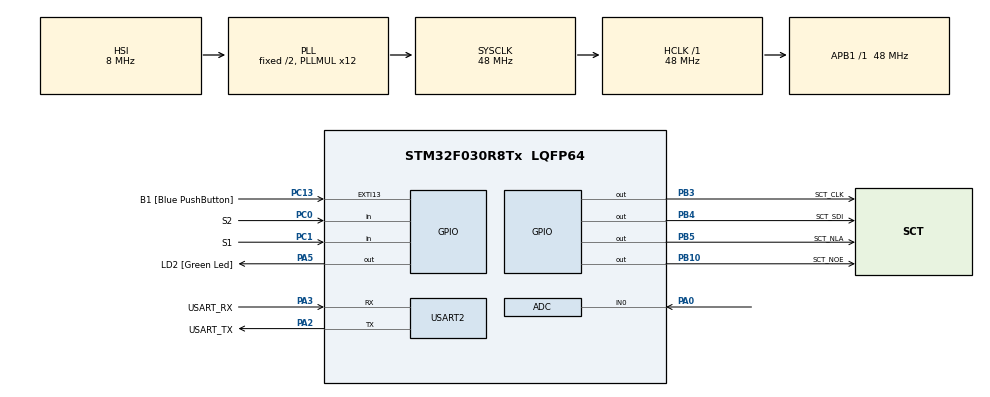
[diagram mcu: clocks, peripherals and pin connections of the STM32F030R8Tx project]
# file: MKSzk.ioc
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ADC.ContinuousConvMode=ENABLE
ADC.Overrun=ADC_OVR_DATA_OVERWRITTEN
ADC.SamplingTime=ADC_SAMPLETIME_239CYCLES_5
Mcu.Family=STM32F0
Mcu.Name=STM32F030R8Tx
Mcu.Package=LQFP64
NVIC.ADC1_IRQn=true\:0\:0\:false\:false\:true\:true\:true
PA0.Mode=IN0
PA0.Signal=ADC_IN0
PA13.GPIO_Label=TMS
PA13.Mode=Serial_Wire
PA13.Signal=SYS_SWDIO
PA14.GPIO_Label=TCK
PA14.Mode=Serial_Wire
PA14.Signal=SYS_SWCLK
PA2.GPIO_Label=USART_TX
PA2.GPIO_Mode=GPIO_MODE_AF_PP
PA2.GPIO_PuPd=GPIO_NOPULL
PA2.GPIO_Speed=GPIO_SPEED_FREQ_LOW
PA2.Mode=Asynchronous
PA2.Signal=USART2_TX
PA3.GPIO_Label=USART_RX
PA3.GPIO_Mode=GPIO_MODE_AF_PP
PA3.GPIO_PuPd=GPIO_NOPULL
PA3.GPIO_Speed=GPIO_SPEED_FREQ_LOW
PA3.Mode=Asynchronous
PA3.Signal=USART2_RX
PA5.GPIO_Label=LD2 [Green Led]
PA5.GPIO_Mode=GPIO_MODE_OUTPUT_PP
PA5.GPIO_PuPd=GPIO_NOPULL
PA5.GPIO_Speed=GPIO_SPEED_FREQ_LOW
PA5.Signal=GPIO_Output
PB10.GPIO_Label=SCT_NOE
PB10.Signal=GPIO_Output
PB3.GPIO_Label=SCT_CLK
PB3.Signal=GPIO_Output
PB4.GPIO_Label=SCT_SDI
PB4.Signal=GPIO_Output
PB5.GPIO_Label=SCT_NLA
PB5.Signal=GPIO_Output
PC0.GPIO_Label=S2
PC0.GPIO_PuPd=GPIO_PULLUP
PC0.Signal=GPIO_Input
PC1.GPIO_Label=S1
PC1.GPIO_PuPd=GPIO_PULLUP
PC1.Signal=GPIO_Input
PC13.GPIO_Label=B1 [Blue PushButton]
PC13.GPIO_ModeDefaultEXTI=GPIO_MODE_IT_FALLING
PC13.Signal=GPXTI13
PC14-OSC32_IN.Mode=LSE-External-Oscillator
PC14-OSC32_IN.Signal=RCC_OSC32_IN
PC15-OSC32_OUT.Mode=LSE-External-Oscillator
PC15-OSC32_OUT.Signal=RCC_OSC32_OUT
PF0-OSC_IN.Mode=HSE-External-Clock-Source
PF0-OSC_IN.Signal=RCC_OSC_IN
PF1-OSC_OUT.Signal=RCC_OSC_OUT
ProjectManager.HeapSize=0x200
ProjectManager.StackSize=0x400
ProjectManager.TargetToolchain=STM32CubeIDE
RCC.AHBFreq_Value=48000000
RCC.APB1Freq_Value=48000000
RCC.APB1TimFreq_Value=48000000
RCC.HCLKFreq_Value=48000000
RCC.PLLMUL=RCC_PLL_MUL12
RCC.SYSCLKFreq_VALUE=48000000
RCC.SYSCLKSource=RCC_SYSCLKSOURCE_PLLCLK
USART2.VirtualMode-Asynchronous=VM_ASYNC
board=NUCLEO-F030R8

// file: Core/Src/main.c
/* USER CODE BEGIN Header */
/**
 ******************************************************************************
 * @file           : main.c
 * @brief          : Main program body
 ******************************************************************************
 * @attention
 *
 * <h2><center>&copy; Copyright (c) 2022 STMicroelectronics.
 * All rights reserved.</center></h2>
 *
 * This software component is licensed by ST under BSD 3-Clause license,
 * the "License"; You may not use this file except in compliance with the
 * License. You may obtain a copy of the License at:
 *                        opensource.org/licenses/BSD-3-Clause
 *
 ******************************************************************************
 */
/* USER CODE END Header */
#include "main.h"

/* USER CODE BEGIN Includes */
#include <stdio.h>
#include <stdbool.h>
#include <math.h>
#include "sct.h"
/* USER CODE END Includes */

/* USER CODE BEGIN PD */
#define ADC_Q 7				// Q factor for cumulative adding
#define MIN_STEP 20			// minimal period of blink
#define DEBOUNCE_CONST 4  	// debounce time
#define CONV_COEF 0.11722 	// convert coeficient for speed
/* USER CODE END PD */

ADC_HandleTypeDef hadc;

UART_HandleTypeDef huart2;

/* USER CODE BEGIN PV */
static volatile uint32_t ADCval;
/* USER CODE END PV */

void SystemClock_Config(void);
static void MX_GPIO_Init(void);
static void MX_USART2_UART_Init(void);
static void MX_ADC_Init(void);

/* USER CODE BEGIN 0 */

/*   ------ Debounce hendler for buttons ------*/
void button(bool *p_state1, bool *p_state2){

	static uint16_t debounceS1 = 0xFFFF;
	static uint16_t debounceS2 = 0xFFFF;
	static uint32_t debounceDelay = 0;

	if(HAL_GetTick() > debounceDelay + DEBOUNCE_CONST){

		debounceS1 <<= 1;
		debounceS2 <<= 1;

		debounceDelay = HAL_GetTick();

		if(!HAL_GPIO_ReadPin(S1_GPIO_Port,S1_Pin)) debounceS1 |= 0x0001;
		if(!HAL_GPIO_ReadPin(S2_GPIO_Port,S2_Pin)) debounceS2 |= 0x0001;

		if(debounceS1 == 0x7FFF) *p_state1 =true;
		if(debounceS2 == 0x7FFF) *p_state2 = true;

	}else{
		*p_state1 = false;
		*p_state2 = false;
	}

}

/*  ---- Reading of AD conversion ----*/
void HAL_ADC_ConvCpltCallback(ADC_HandleTypeDef* hadc){

	static volatile uint32_t ADCavg;

	ADCval = ADCavg >> ADC_Q;
	ADCavg -= ADCval;
	ADCavg += HAL_ADC_GetValue(hadc);
}

/* USER CODE END 0 */

int main(void)
{

	/* MCU Configuration--------------------------------------------------------*/

	/* Reset of all peripherals, Initializes the Flash interface and the Systick. */
	HAL_Init();

	/* Configure the system clock */
	SystemClock_Config();

	/* Initialize all configured peripherals */
	MX_GPIO_Init();
	MX_USART2_UART_Init();
	MX_ADC_Init();
	/* USER CODE BEGIN 2 */
	HAL_ADCEx_Calibration_Start(&hadc);
	HAL_ADC_Start_IT(&hadc);
	sct_init();
	/* USER CODE END 2 */

	/* Infinite loop */
	while (1)
	{

		/* USER CODE BEGIN 3 */
		static bool butt1;
		static bool butt2;
		static bool direction = true;
		static uint32_t step = 0;
		static uint8_t cnt = 0;
		uint32_t speed;

		button(&butt1, &butt2);
		if(butt1) direction = true;
		if(butt2) direction = false;

		//speed = ADCval/100;
		speed = ADCval * CONV_COEF;

		if(HAL_GetTick() > step + speed + MIN_STEP){
			if(direction){
				cnt++;
				if (cnt > 8) cnt = 1;
			}else{
				cnt--;
				if (cnt < 1) cnt = 8;
			}
			sct_value(cnt);
			step = HAL_GetTick();
		}

	}
	/* USER CODE END 3 */
}

void SystemClock_Config(void)
{
	RCC_OscInitTypeDef RCC_OscInitStruct = {0};
	RCC_ClkInitTypeDef RCC_ClkInitStruct = {0};

	/** Initializes the RCC Oscillators according to the specified parameters
	 * in the RCC_OscInitTypeDef structure.
	 */
	RCC_OscInitStruct.OscillatorType = RCC_OSCILLATORTYPE_HSI|RCC_OSCILLATORTYPE_HSI14;
	RCC_OscInitStruct.HSIState = RCC_HSI_ON;
	RCC_OscInitStruct.HSI14State = RCC_HSI14_ON;
	RCC_OscInitStruct.HSICalibrationValue = RCC_HSICALIBRATION_DEFAULT;
	RCC_OscInitStruct.HSI14CalibrationValue = 16;
	RCC_OscInitStruct.PLL.PLLState = RCC_PLL_ON;
	RCC_OscInitStruct.PLL.PLLSource = RCC_PLLSOURCE_HSI;
	RCC_OscInitStruct.PLL.PLLMUL = RCC_PLL_MUL12;
	RCC_OscInitStruct.PLL.PREDIV = RCC_PREDIV_DIV1;
	if (HAL_RCC_OscConfig(&RCC_OscInitStruct) != HAL_OK)
	{
		Error_Handler();
	}
	/** Initializes the CPU, AHB and APB buses clocks
	 */
	RCC_ClkInitStruct.ClockType = RCC_CLOCKTYPE_HCLK|RCC_CLOCKTYPE_SYSCLK
			|RCC_CLOCKTYPE_PCLK1;
	RCC_ClkInitStruct.SYSCLKSource = RCC_SYSCLKSOURCE_PLLCLK;
	RCC_ClkInitStruct.AHBCLKDivider = RCC_SYSCLK_DIV1;
	RCC_ClkInitStruct.APB1CLKDivider = RCC_HCLK_DIV1;

	if (HAL_RCC_ClockConfig(&RCC_ClkInitStruct, FLASH_LATENCY_1) != HAL_OK)
	{
		Error_Handler();
	}
}

static void MX_ADC_Init(void)
{

	ADC_ChannelConfTypeDef sConfig = {0};

	/** Configure the global features of the ADC (Clock, Resolution, Data Alignment and number of conversion)
	 */
	hadc.Instance = ADC1;
	hadc.Init.ClockPrescaler = ADC_CLOCK_ASYNC_DIV1;
	hadc.Init.Resolution = ADC_RESOLUTION_12B;
	hadc.Init.DataAlign = ADC_DATAALIGN_RIGHT;
	hadc.Init.ScanConvMode = ADC_SCAN_DIRECTION_FORWARD;
	hadc.Init.EOCSelection = ADC_EOC_SINGLE_CONV;
	hadc.Init.LowPowerAutoWait = DISABLE;
	hadc.Init.LowPowerAutoPowerOff = DISABLE;
	hadc.Init.ContinuousConvMode = ENABLE;
	hadc.Init.DiscontinuousConvMode = DISABLE;
	hadc.Init.ExternalTrigConv = ADC_SOFTWARE_START;
	hadc.Init.ExternalTrigConvEdge = ADC_EXTERNALTRIGCONVEDGE_NONE;
	hadc.Init.DMAContinuousRequests = DISABLE;
	hadc.Init.Overrun = ADC_OVR_DATA_OVERWRITTEN;
	if (HAL_ADC_Init(&hadc) != HAL_OK)
	{
		Error_Handler();
	}
	/** Configure for the selected ADC regular channel to be converted.
	 */
	sConfig.Channel = ADC_CHANNEL_0;
	sConfig.Rank = ADC_RANK_CHANNEL_NUMBER;
	sConfig.SamplingTime = ADC_SAMPLETIME_239CYCLES_5;
	if (HAL_ADC_ConfigChannel(&hadc, &sConfig) != HAL_OK)
	{
		Error_Handler();
	}

}

static void MX_USART2_UART_Init(void)
{

	huart2.Instance = USART2;
	huart2.Init.BaudRate = 38400;
	huart2.Init.WordLength = UART_WORDLENGTH_8B;
	huart2.Init.StopBits = UART_STOPBITS_1;
	huart2.Init.Parity = UART_PARITY_NONE;
	huart2.Init.Mode = UART_MODE_TX_RX;
	huart2.Init.HwFlowCtl = UART_HWCONTROL_NONE;
	huart2.Init.OverSampling = UART_OVERSAMPLING_16;
	huart2.Init.OneBitSampling = UART_ONE_BIT_SAMPLE_DISABLE;
	huart2.AdvancedInit.AdvFeatureInit = UART_ADVFEATURE_NO_INIT;
	if (HAL_UART_Init(&huart2) != HAL_OK)
	{
		Error_Handler();
	}

}

static void MX_GPIO_Init(void)
{
	GPIO_InitTypeDef GPIO_InitStruct = {0};

	/* GPIO Ports Clock Enable */
	__HAL_RCC_GPIOC_CLK_ENABLE();
	__HAL_RCC_GPIOF_CLK_ENABLE();
	__HAL_RCC_GPIOA_CLK_ENABLE();
	__HAL_RCC_GPIOB_CLK_ENABLE();

	/*Configure GPIO pin Output Level */
	HAL_GPIO_WritePin(LD2_GPIO_Port, LD2_Pin, GPIO_PIN_RESET);

	/*Configure GPIO pin Output Level */
	HAL_GPIO_WritePin(GPIOB, SCT_NOE_Pin|SCT_CLK_Pin|SCT_SDI_Pin|SCT_NLA_Pin, GPIO_PIN_RESET);

	/*Configure GPIO pin : B1_Pin */
	GPIO_InitStruct.Pin = B1_Pin;
	GPIO_InitStruct.Mode = GPIO_MODE_IT_FALLING;
	GPIO_InitStruct.Pull = GPIO_NOPULL;
	HAL_GPIO_Init(B1_GPIO_Port, &GPIO_InitStruct);

	/*Configure GPIO pins : S2_Pin S1_Pin */
	GPIO_InitStruct.Pin = S2_Pin|S1_Pin;
	GPIO_InitStruct.Mode = GPIO_MODE_INPUT;
	GPIO_InitStruct.Pull = GPIO_PULLUP;
	HAL_GPIO_Init(GPIOC, &GPIO_InitStruct);

	/*Configure GPIO pin : LD2_Pin */
	GPIO_InitStruct.Pin = LD2_Pin;
	GPIO_InitStruct.Mode = GPIO_MODE_OUTPUT_PP;
	GPIO_InitStruct.Pull = GPIO_NOPULL;
	GPIO_InitStruct.Speed = GPIO_SPEED_FREQ_LOW;
	HAL_GPIO_Init(LD2_GPIO_Port, &GPIO_InitStruct);

	/*Configure GPIO pins : SCT_NOE_Pin SCT_CLK_Pin SCT_SDI_Pin SCT_NLA_Pin */
	GPIO_InitStruct.Pin = SCT_NOE_Pin|SCT_CLK_Pin|SCT_SDI_Pin|SCT_NLA_Pin;
	GPIO_InitStruct.Mode = GPIO_MODE_OUTPUT_PP;
	GPIO_InitStruct.Pull = GPIO_NOPULL;
	GPIO_InitStruct.Speed = GPIO_SPEED_FREQ_LOW;
	HAL_GPIO_Init(GPIOB, &GPIO_InitStruct);

}

void Error_Handler(void)
{
	__disable_irq();
	while (1)
	{
	}
}

/************************ (C) COPYRIGHT STMicroelectronics *****END OF FILE****/
